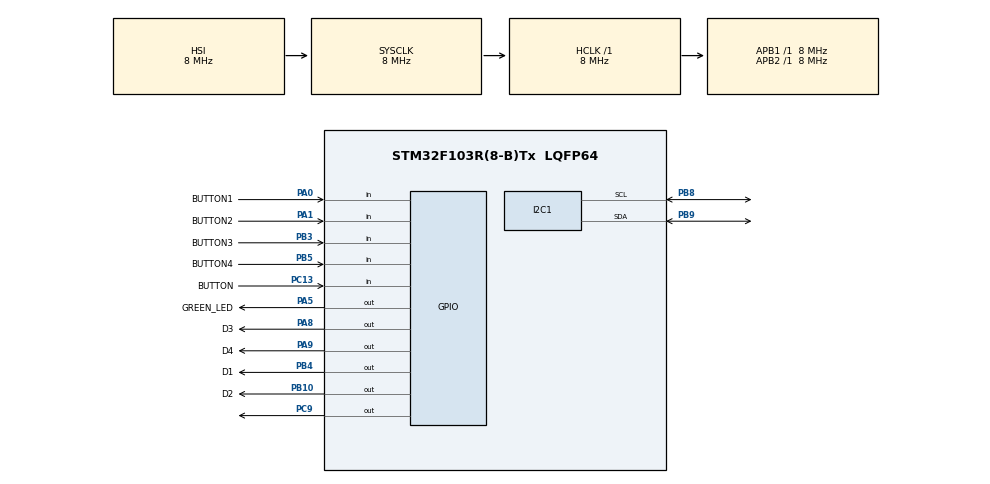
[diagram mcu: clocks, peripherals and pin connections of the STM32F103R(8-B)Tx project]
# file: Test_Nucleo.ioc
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Mcu.Family=STM32F1
Mcu.Name=STM32F103R(8-B)Tx
Mcu.Package=LQFP64
NVIC.I2C1_ER_IRQn=true\:0\:0\:false\:false\:true\:true\:true
NVIC.I2C1_EV_IRQn=true\:0\:0\:false\:false\:true\:true\:true
NVIC.PriorityGroup=NVIC_PRIORITYGROUP_4
NVIC.TIM2_IRQn=true\:0\:0\:false\:false\:true\:true\:true
PA0-WKUP.GPIO_Label=BUTTON1
PA0-WKUP.GPIO_PuPd=GPIO_PULLUP
PA0-WKUP.Signal=GPIO_Input
PA1.GPIO_Label=BUTTON2
PA1.GPIO_PuPd=GPIO_PULLUP
PA1.Signal=GPIO_Input
PA13.GPIO_Label=TMS
PA13.Mode=Serial_Wire
PA13.Signal=SYS_JTMS-SWDIO
PA14.GPIO_Label=TCK
PA14.Mode=Serial_Wire
PA14.Signal=SYS_JTCK-SWCLK
PA5.GPIO_Label=GREEN_LED
PA5.GPIO_ModeDefaultOutputPP=GPIO_MODE_OUTPUT_PP
PA5.GPIO_PuPd=GPIO_NOPULL
PA5.GPIO_Speed=GPIO_SPEED_FREQ_LOW
PA5.Signal=GPIO_Output
PA8.GPIO_Label=D3
PA8.Signal=GPIO_Output
PA9.GPIO_Label=D4
PA9.Signal=GPIO_Output
PB10.GPIO_Label=D2
PB10.Signal=GPIO_Output
PB3.GPIO_Label=BUTTON3
PB3.GPIO_PuPd=GPIO_PULLUP
PB3.Signal=GPIO_Input
PB4.GPIO_Label=D1
PB4.Signal=GPIO_Output
PB5.GPIO_Label=BUTTON4
PB5.GPIO_PuPd=GPIO_PULLUP
PB5.Signal=GPIO_Input
PB8.Mode=I2C
PB8.Signal=I2C1_SCL
PB9.Mode=I2C
PB9.Signal=I2C1_SDA
PC13-TAMPER-RTC.GPIO_Label=BUTTON
PC13-TAMPER-RTC.GPIO_PuPd=GPIO_PULLUP
PC13-TAMPER-RTC.Signal=GPIO_Input
PC14-OSC32_IN.Mode=LSE-External-Oscillator
PC14-OSC32_IN.Signal=RCC_OSC32_IN
PC15-OSC32_OUT.Mode=LSE-External-Oscillator
PC15-OSC32_OUT.Signal=RCC_OSC32_OUT
PC9.Signal=GPIO_Output
PD0-OSC_IN.Mode=HSE-External-Clock-Source
PD0-OSC_IN.Signal=RCC_OSC_IN
PD1-OSC_OUT.Mode=HSE-External-Clock-Source
PD1-OSC_OUT.Signal=RCC_OSC_OUT
ProjectManager.HeapSize=0x200
ProjectManager.StackSize=0x400
ProjectManager.TargetToolchain=STM32CubeIDE
RCC.AHBFreq_Value=8000000
RCC.APB1Freq_Value=8000000
RCC.APB1TimFreq_Value=8000000
RCC.APB2Freq_Value=8000000
RCC.APB2TimFreq_Value=8000000
RCC.HCLKFreq_Value=8000000
RCC.RTCClockSelection=RCC_RTCCLKSOURCE_LSE
RCC.SYSCLKFreq_VALUE=8000000
RCC.USBFreq_Value=8000000
TIM2.Period=9
TIM2.Prescaler=7999
VP_TIM2_VS_ClockSourceINT.Mode=Internal
board=NUCLEO-F103RB

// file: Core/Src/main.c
/* USER CODE BEGIN Header */
/**
  ******************************************************************************
  * @file           : main.c
  * @brief          : Main program body
  ******************************************************************************
  * @attention
  *
  * <h2><center>&copy; Copyright (c) 2025 STMicroelectronics.
  * All rights reserved.</center></h2>
  *
  * This software component is licensed by ST under BSD 3-Clause license,
  * the "License"; You may not use this file except in compliance with the
  * License. You may obtain a copy of the License at:
  *                        opensource.org/licenses/BSD-3-Clause
  *
  ******************************************************************************
  */
/* USER CODE END Header */
#include "main.h"

/* USER CODE BEGIN Includes */

#include "scheduler.h"
#include "global.h"
#include "button.h"
#include "light.h"
#include "i2c-lcd.h"
#include "fsm_automatic.h"
#include "fsm_manual.h"
#include "fsm_modify.h"
#include "software_timer.h"

/* USER CODE END Includes */

I2C_HandleTypeDef hi2c1;

TIM_HandleTypeDef htim2;

void SystemClock_Config(void);
static void MX_GPIO_Init(void);
static void MX_TIM2_Init(void);
static void MX_I2C1_Init(void);

int main(void)
{

  /* MCU Configuration--------------------------------------------------------*/

  /* Reset of all peripherals, Initializes the Flash interface and the Systick. */
  HAL_Init();

  /* Configure the system clock */
  SystemClock_Config();

  /* Initialize all configured peripherals */
  MX_GPIO_Init();
  MX_TIM2_Init();
  MX_I2C1_Init();
  /* USER CODE BEGIN 2 */
  HAL_TIM_Base_Start_IT(&htim2); // Bắt đầu Timer 2 ở chế độ ngắt
  // Initial LCD
    setTimer(1,100);

    lcd_init();
    lcd_send_string("TRAFFIC LIGHT");
    //setTimer(0,5000); // Ch�? 1 chút cho ngầu
    lcd_clear_display();

    //Init Scheduler
    SCH_Init();

    //Add Task
    // 4. Thêm các tác vụ vào Scheduler (Tick cơ sở là 10ms)

      // Task 1: Máy trạng thái Tự động (Chạy liên tục để kiểm tra chuyển màu)
      // Delay: 0, Chu kỳ: 1 tick (10ms)
      SCH_Add_Task(fsm_automatic_run, 0, 10);

      // Task 2: Máy trạng thái Thủ công (Chạy liên tục để check nút nhấn chuyển chế độ)
      // Delay: 0, Chu kỳ: 1 tick (10ms)
      SCH_Add_Task(fsm_manual_run, 0, 10);

      // Task 3: Giảm biến đếm th�?i gian (Countdown)
      // Biến đếm cần giảm mỗi 1 giây (1000ms). Vì tick = 10ms -> Chu kỳ = 100 ticks.
      // Hàm update_time_counter nằm trong fsm_automatic.c
      SCH_Add_Task(update_time_counter, 0, 100);

      // Task 4: Nhấp nháy đèn khi cài đặt (Blink LED)
      // Nháy mỗi 500ms (0.5s). Chu kỳ = 50 ticks.
      // Hàm toggle_blink nằm trong fsm_manual.c
      SCH_Add_Task(toggle_blink, 0, 10);

      SCH_Add_Task(fsm_modify,0,10);
  /* USER CODE END 2 */

  /* Infinite loop */
  /* USER CODE BEGIN WHILE */

  while (1)
  {
	  SCH_Dispatch_Tasks();

    /* USER CODE END WHILE */

  }
}

void SystemClock_Config(void)
{
  RCC_OscInitTypeDef RCC_OscInitStruct = {0};
  RCC_ClkInitTypeDef RCC_ClkInitStruct = {0};

  /** Initializes the RCC Oscillators according to the specified parameters
  * in the RCC_OscInitTypeDef structure.
  */
  RCC_OscInitStruct.OscillatorType = RCC_OSCILLATORTYPE_HSI;
  RCC_OscInitStruct.HSIState = RCC_HSI_ON;
  RCC_OscInitStruct.HSICalibrationValue = RCC_HSICALIBRATION_DEFAULT;
  RCC_OscInitStruct.PLL.PLLState = RCC_PLL_NONE;
  if (HAL_RCC_OscConfig(&RCC_OscInitStruct) != HAL_OK)
  {
    Error_Handler();
  }
  /** Initializes the CPU, AHB and APB buses clocks
  */
  RCC_ClkInitStruct.ClockType = RCC_CLOCKTYPE_HCLK|RCC_CLOCKTYPE_SYSCLK
                              |RCC_CLOCKTYPE_PCLK1|RCC_CLOCKTYPE_PCLK2;
  RCC_ClkInitStruct.SYSCLKSource = RCC_SYSCLKSOURCE_HSI;
  RCC_ClkInitStruct.AHBCLKDivider = RCC_SYSCLK_DIV1;
  RCC_ClkInitStruct.APB1CLKDivider = RCC_HCLK_DIV1;
  RCC_ClkInitStruct.APB2CLKDivider = RCC_HCLK_DIV1;

  if (HAL_RCC_ClockConfig(&RCC_ClkInitStruct, FLASH_LATENCY_0) != HAL_OK)
  {
    Error_Handler();
  }
}

static void MX_I2C1_Init(void)
{

  hi2c1.Instance = I2C1;
  hi2c1.Init.ClockSpeed = 100000;
  hi2c1.Init.DutyCycle = I2C_DUTYCYCLE_2;
  hi2c1.Init.OwnAddress1 = 0;
  hi2c1.Init.AddressingMode = I2C_ADDRESSINGMODE_7BIT;
  hi2c1.Init.DualAddressMode = I2C_DUALADDRESS_DISABLE;
  hi2c1.Init.OwnAddress2 = 0;
  hi2c1.Init.GeneralCallMode = I2C_GENERALCALL_DISABLE;
  hi2c1.Init.NoStretchMode = I2C_NOSTRETCH_DISABLE;
  if (HAL_I2C_Init(&hi2c1) != HAL_OK)
  {
    Error_Handler();
  }

}

static void MX_TIM2_Init(void)
{

  TIM_ClockConfigTypeDef sClockSourceConfig = {0};
  TIM_MasterConfigTypeDef sMasterConfig = {0};

  htim2.Instance = TIM2;
  htim2.Init.Prescaler = 7999;
  htim2.Init.CounterMode = TIM_COUNTERMODE_UP;
  htim2.Init.Period = 9;
  htim2.Init.ClockDivision = TIM_CLOCKDIVISION_DIV1;
  htim2.Init.AutoReloadPreload = TIM_AUTORELOAD_PRELOAD_DISABLE;
  if (HAL_TIM_Base_Init(&htim2) != HAL_OK)
  {
    Error_Handler();
  }
  sClockSourceConfig.ClockSource = TIM_CLOCKSOURCE_INTERNAL;
  if (HAL_TIM_ConfigClockSource(&htim2, &sClockSourceConfig) != HAL_OK)
  {
    Error_Handler();
  }
  sMasterConfig.MasterOutputTrigger = TIM_TRGO_RESET;
  sMasterConfig.MasterSlaveMode = TIM_MASTERSLAVEMODE_DISABLE;
  if (HAL_TIMEx_MasterConfigSynchronization(&htim2, &sMasterConfig) != HAL_OK)
  {
    Error_Handler();
  }

}

static void MX_GPIO_Init(void)
{
  GPIO_InitTypeDef GPIO_InitStruct = {0};

  /* GPIO Ports Clock Enable */
  __HAL_RCC_GPIOC_CLK_ENABLE();
  __HAL_RCC_GPIOD_CLK_ENABLE();
  __HAL_RCC_GPIOA_CLK_ENABLE();
  __HAL_RCC_GPIOB_CLK_ENABLE();

  /*Configure GPIO pin Output Level */
  HAL_GPIO_WritePin(GPIOA, GREEN_LED_Pin|D3_Pin|D4_Pin, GPIO_PIN_RESET);

  /*Configure GPIO pin Output Level */
  HAL_GPIO_WritePin(GPIOB, D2_Pin|D1_Pin, GPIO_PIN_RESET);

  /*Configure GPIO pin Output Level */
  HAL_GPIO_WritePin(GPIOC, GPIO_PIN_9, GPIO_PIN_RESET);

  /*Configure GPIO pin : BUTTON_Pin */
  GPIO_InitStruct.Pin = BUTTON_Pin;
  GPIO_InitStruct.Mode = GPIO_MODE_INPUT;
  GPIO_InitStruct.Pull = GPIO_PULLUP;
  HAL_GPIO_Init(BUTTON_GPIO_Port, &GPIO_InitStruct);

  /*Configure GPIO pins : BUTTON1_Pin BUTTON2_Pin */
  GPIO_InitStruct.Pin = BUTTON1_Pin|BUTTON2_Pin;
  GPIO_InitStruct.Mode = GPIO_MODE_INPUT;
  GPIO_InitStruct.Pull = GPIO_PULLUP;
  HAL_GPIO_Init(GPIOA, &GPIO_InitStruct);

  /*Configure GPIO pins : GREEN_LED_Pin D3_Pin D4_Pin */
  GPIO_InitStruct.Pin = GREEN_LED_Pin|D3_Pin|D4_Pin;
  GPIO_InitStruct.Mode = GPIO_MODE_OUTPUT_PP;
  GPIO_InitStruct.Pull = GPIO_NOPULL;
  GPIO_InitStruct.Speed = GPIO_SPEED_FREQ_LOW;
  HAL_GPIO_Init(GPIOA, &GPIO_InitStruct);

  /*Configure GPIO pins : D2_Pin D1_Pin */
  GPIO_InitStruct.Pin = D2_Pin|D1_Pin;
  GPIO_InitStruct.Mode = GPIO_MODE_OUTPUT_PP;
  GPIO_InitStruct.Pull = GPIO_NOPULL;
  GPIO_InitStruct.Speed = GPIO_SPEED_FREQ_LOW;
  HAL_GPIO_Init(GPIOB, &GPIO_InitStruct);

  /*Configure GPIO pin : PC9 */
  GPIO_InitStruct.Pin = GPIO_PIN_9;
  GPIO_InitStruct.Mode = GPIO_MODE_OUTPUT_PP;
  GPIO_InitStruct.Pull = GPIO_NOPULL;
  GPIO_InitStruct.Speed = GPIO_SPEED_FREQ_LOW;
  HAL_GPIO_Init(GPIOC, &GPIO_InitStruct);

  /*Configure GPIO pins : BUTTON3_Pin BUTTON4_Pin */
  GPIO_InitStruct.Pin = BUTTON3_Pin|BUTTON4_Pin;
  GPIO_InitStruct.Mode = GPIO_MODE_INPUT;
  GPIO_InitStruct.Pull = GPIO_PULLUP;
  HAL_GPIO_Init(GPIOB, &GPIO_InitStruct);

}

/* USER CODE BEGIN 4 */

void HAL_TIM_PeriodElapsedCallback(TIM_HandleTypeDef *htim)
{
  if(htim->Instance == TIM2) {
	getKeyInput();
    SCH_Update();
    timerRun();
  }
}
/* USER CODE END 4 */

void Error_Handler(void)
{
  __disable_irq();
  while (1)
  {
  }
}

/************************ (C) COPYRIGHT STMicroelectronics *****END OF FILE****/
